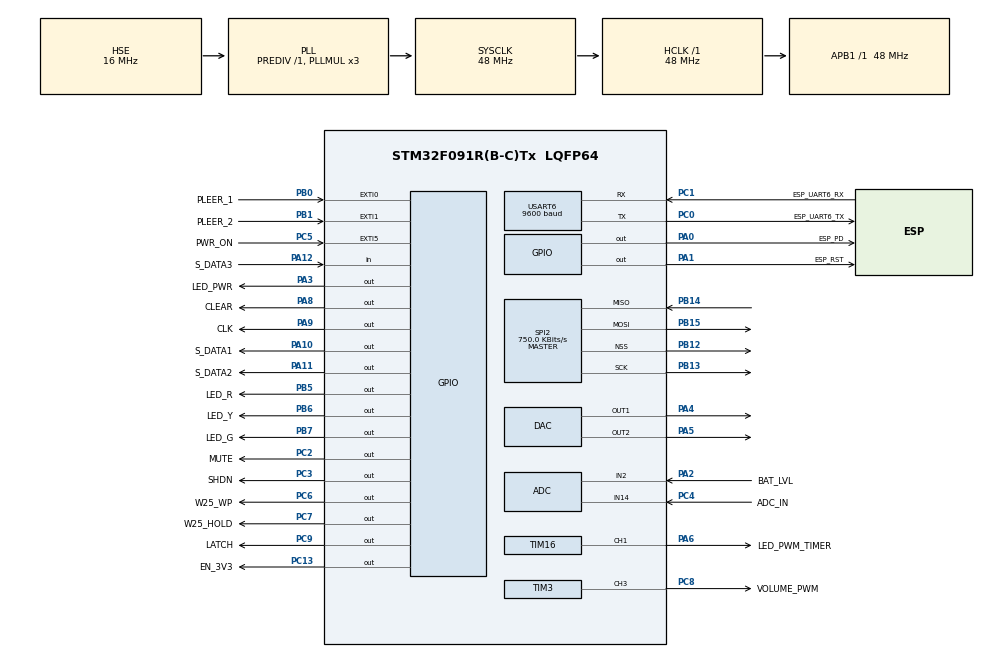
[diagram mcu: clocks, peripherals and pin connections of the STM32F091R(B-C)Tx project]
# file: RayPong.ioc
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Dma.Request0=TIM16_CH1/UP
Dma.TIM16_CH1/UP.0.Direction=DMA_MEMORY_TO_PERIPH
Dma.TIM16_CH1/UP.0.Instance=DMA1_Channel3
Dma.TIM16_CH1/UP.0.MemDataAlignment=DMA_MDATAALIGN_BYTE
Dma.TIM16_CH1/UP.0.MemInc=DMA_MINC_ENABLE
Dma.TIM16_CH1/UP.0.Mode=DMA_NORMAL
Dma.TIM16_CH1/UP.0.PeriphDataAlignment=DMA_PDATAALIGN_HALFWORD
Dma.TIM16_CH1/UP.0.PeriphInc=DMA_PINC_DISABLE
Dma.TIM16_CH1/UP.0.Priority=DMA_PRIORITY_VERY_HIGH
Mcu.Family=STM32F0
Mcu.Name=STM32F091R(B-C)Tx
Mcu.Package=LQFP64
NVIC.DMA1_Ch2_3_DMA2_Ch1_2_IRQn=true\:0\:0\:false\:false\:true\:false\:true
NVIC.EXTI0_1_IRQn=true\:0\:0\:false\:false\:true\:true\:true
NVIC.EXTI4_15_IRQn=true\:0\:0\:false\:false\:true\:true\:true
NVIC.TIM16_IRQn=true\:1\:0\:true\:false\:true\:true\:true
NVIC.TIM6_DAC_IRQn=true\:0\:0\:false\:false\:true\:true\:true
NVIC.USART3_8_IRQn=true\:0\:0\:false\:false\:true\:true\:true
PA0.GPIO_Label=ESP_PD
PA0.GPIO_ModeDefaultOutputPP=GPIO_MODE_OUTPUT_OD
PA0.Signal=GPIO_Output
PA1.GPIO_Label=ESP_RST
PA1.GPIO_ModeDefaultOutputPP=GPIO_MODE_OUTPUT_OD
PA1.Signal=GPIO_Output
PA10.GPIO_Label=S_DATA1
PA10.Signal=GPIO_Output
PA11.GPIO_Label=S_DATA2
PA11.Signal=GPIO_Output
PA12.GPIO_Label=S_DATA3
PA12.Signal=GPIO_Input
PA13.Mode=Serial_Wire
PA13.Signal=SYS_SWDIO
PA14.Mode=Serial_Wire
PA14.Signal=SYS_SWCLK
PA2.GPIO_Label=BAT_LVL
PA2.Mode=IN2
PA2.Signal=ADC_IN2
PA3.GPIO_Label=LED_PWR
PA3.Signal=GPIO_Output
PA4.Signal=COMP_DAC1_group
PA5.Signal=COMP_DAC2_group
PA6.GPIO_Label=LED_PWM_TIMER
PA6.Signal=S_TIM16_CH1
PA7.GPIO_Label=LED_PWM_SPI
PA7.Signal=SPI1_MOSI
PA8.GPIO_Label=CLEAR
PA8.Signal=GPIO_Output
PA9.GPIO_FMA9=SYSCFG_CFGR1_I2C_FMP_PA9
PA9.GPIO_Label=CLK
PA9.Signal=GPIO_Output
PB0.GPIO_Label=PLEER_1
PB0.GPIO_ModeDefaultEXTI=GPIO_MODE_IT_RISING_FALLING
PB0.Signal=GPXTI0
PB1.GPIO_Label=PLEER_2
PB1.GPIO_ModeDefaultEXTI=GPIO_MODE_IT_RISING_FALLING
PB1.Signal=GPXTI1
PB12.Mode=NSS_Signal_Hard_Output
PB12.Signal=SPI2_NSS
PB13.Mode=Full_Duplex_Master
PB13.Signal=SPI2_SCK
PB14.Mode=Full_Duplex_Master
PB14.Signal=SPI2_MISO
PB15.Mode=Full_Duplex_Master
PB15.Signal=SPI2_MOSI
PB5.GPIO_Label=LED_R
PB5.PinState=GPIO_PIN_SET
PB5.Signal=GPIO_Output
PB6.GPIO_Label=LED_Y
PB6.PinState=GPIO_PIN_SET
PB6.Signal=GPIO_Output
PB7.GPIO_Label=LED_G
PB7.PinState=GPIO_PIN_SET
PB7.Signal=GPIO_Output
PC0.GPIO_Label=ESP_UART6_TX
PC0.Mode=Asynchronous
PC0.Signal=USART6_TX
PC1.GPIO_Label=ESP_UART6_RX
PC1.Mode=Asynchronous
PC1.Signal=USART6_RX
PC13.GPIO_Label=EN_3V3
PC13.PinState=GPIO_PIN_SET
PC13.Signal=GPIO_Output
PC14OSC32_IN.GPIO_Label=EN_5V0
PC14OSC32_IN.Signal=GPIO_Output
PC2.GPIO_Label=MUTE
PC2.Signal=GPIO_Output
PC3.GPIO_Label=SHDN
PC3.Signal=GPIO_Output
PC4.GPIO_Label=ADC_IN
PC4.Mode=IN14
PC4.Signal=ADC_IN14
PC5.GPIO_Label=PWR_ON
PC5.GPIO_ModeDefaultEXTI=GPIO_MODE_IT_RISING_FALLING
PC5.GPIO_PuPd=GPIO_PULLDOWN
PC5.Signal=GPXTI5
PC6.GPIO_Label=W25_WP
PC6.Signal=GPIO_Output
PC7.GPIO_Label=W25_HOLD
PC7.Signal=GPIO_Output
PC8.GPIO_Label=VOLUME_PWM
PC8.Signal=S_TIM3_CH3
PC9.GPIO_Label=LATCH
PC9.Signal=GPIO_Output
PF0-OSC_IN.Mode=HSE-External-Oscillator
PF0-OSC_IN.Signal=RCC_OSC_IN
PF1-OSC_OUT.Mode=HSE-External-Oscillator
PF1-OSC_OUT.Signal=RCC_OSC_OUT
ProjectManager.HeapSize=0x400
ProjectManager.StackSize=0x1000
ProjectManager.TargetToolchain=EWARM V8.32
RCC.AHBFreq_Value=48000000
RCC.APB1Freq_Value=48000000
RCC.APB1TimFreq_Value=48000000
RCC.HCLKFreq_Value=48000000
RCC.HSE_VALUE=16000000
RCC.PLLMUL=RCC_PLL_MUL3
RCC.PLLSourceVirtual=RCC_PLLSOURCE_HSE
RCC.SYSCLKFreq_VALUE=48000000
RCC.SYSCLKSource=RCC_SYSCLKSOURCE_PLLCLK
SH.COMP_DAC1_group.0=DAC_OUT1,DAC_OUT1
SH.COMP_DAC2_group.0=DAC_OUT2,DAC_OUT2
SH.S_TIM16_CH1.0=TIM16_CH1,PWM Generation1 CH1
SH.S_TIM3_CH3.0=TIM3_CH3,PWM Generation3 CH3
SPI2.BaudRatePrescaler=SPI_BAUDRATEPRESCALER_64
SPI2.CalculateBaudRate=750.0 KBits/s
SPI2.DataSize=SPI_DATASIZE_6BIT
SPI2.Direction=SPI_DIRECTION_2LINES
SPI2.Mode=SPI_MODE_MASTER
SPI2.VirtualNSS=VM_NSSHARD
SPI2.VirtualType=VM_MASTER
TIM16.Channel=TIM_CHANNEL_1
TIM16.Period=59
TIM16.Prescaler=0
TIM16.Pulse=23
TIM3.Channel-PWM\ Generation3\ CH3=TIM_CHANNEL_3
TIM3.Period=59
TIM6.Period=100
TIM6.Prescaler=4999
USART6.BaudRate=9600
USART6.DMADisableonRxErrorParam=ADVFEATURE_DMA_DISABLEONRXERROR
USART6.OverSampling=UART_OVERSAMPLING_8
USART6.OverrunDisableParam=ADVFEATURE_OVERRUN_DISABLE
USART6.VirtualMode=VM_ASYNC
VP_FATFS_VS_Generic.Mode=User_defined
VP_TIM16_VS_ClockSourceINT.Mode=Enable_Timer
VP_TIM3_VS_ClockSourceINT.Mode=Internal
VP_TIM6_VS_ClockSourceINT.Mode=Enable_Timer
board=custom

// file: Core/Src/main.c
/* USER CODE BEGIN Header */
/**
  ******************************************************************************
  * @file           : main.c
  * @brief          : Main program body
  ******************************************************************************
  * @attention
  *
  * <h2><center>&copy; Copyright (c) 2020 STMicroelectronics.
  * All rights reserved.</center></h2>
  *
  * This software component is licensed by ST under BSD 3-Clause license,
  * the "License"; You may not use this file except in compliance with the
  * License. You may obtain a copy of the License at:
  *                        opensource.org/licenses/BSD-3-Clause
  *
  ******************************************************************************
  */
/* USER CODE END Header */
#include "main.h"
#include "adc.h"
#include "dac.h"
#include "dma.h"
#include "fatfs.h"
#include "spi.h"
#include "tim.h"
#include "usart.h"
#include "gpio.h"

/* USER CODE BEGIN Includes */

#include "bsp.h"

#include "control_task.h"
#include "ws2812_task.h"
#include "wifi_task.h"
#include "draw.h"

/* USER CODE END Includes */

void SystemClock_Config(void);

int main(void)
{

  /* MCU Configuration--------------------------------------------------------*/

  /* Reset of all peripherals, Initializes the Flash interface and the Systick. */
  HAL_Init();

  /* Configure the system clock */
  SystemClock_Config();

  /* Initialize all configured peripherals */
  MX_GPIO_Init();
  MX_DMA_Init();
  MX_TIM3_Init();
  MX_ADC_Init();
  MX_DAC_Init();
  MX_SPI2_Init();
  MX_TIM16_Init();
  MX_USART6_UART_Init();
  MX_FATFS_Init();
  MX_TIM6_Init();
  /* USER CODE BEGIN 2 */

  init_control_task();
  init_ws2812_task();
  init_wifi_task();
  init_draw_task();

//  __DBGMCU_CLK_ENABLE();
  RCC->APB2ENR |= RCC_APB2ENR_DBGMCUEN;
  DBGMCU->APB2FZ |= DBGMCU_APB2_FZ_DBG_TIM1_STOP | DBGMCU_APB2_FZ_DBG_TIM16_STOP;
  DBGMCU->APB1FZ |= DBGMCU_APB1_FZ_DBG_TIM6_STOP;

  V33_ENABLE();
  HAL_Delay( 100 );
//  V50_ENABLE();
//  HAL_Delay( 100 );
//  LED_POWER_ON();
//  HAL_Delay( 100 );

  /* USER CODE END 2 */

  /* Infinite loop */
  /* USER CODE BEGIN WHILE */
  while (1) {
    control_task();
    ws2812_task();
    wifi_task();
    draw_task();

    /* USER CODE END WHILE */

  }
}

void SystemClock_Config(void)
{
  RCC_OscInitTypeDef RCC_OscInitStruct = {0};
  RCC_ClkInitTypeDef RCC_ClkInitStruct = {0};

  /** Initializes the RCC Oscillators according to the specified parameters
  * in the RCC_OscInitTypeDef structure.
  */
  RCC_OscInitStruct.OscillatorType = RCC_OSCILLATORTYPE_HSI14|RCC_OSCILLATORTYPE_HSE;
  RCC_OscInitStruct.HSEState = RCC_HSE_ON;
  RCC_OscInitStruct.HSI14State = RCC_HSI14_ON;
  RCC_OscInitStruct.HSI14CalibrationValue = 16;
  RCC_OscInitStruct.PLL.PLLState = RCC_PLL_ON;
  RCC_OscInitStruct.PLL.PLLSource = RCC_PLLSOURCE_HSE;
  RCC_OscInitStruct.PLL.PLLMUL = RCC_PLL_MUL3;
  RCC_OscInitStruct.PLL.PREDIV = RCC_PREDIV_DIV1;
  if (HAL_RCC_OscConfig(&RCC_OscInitStruct) != HAL_OK)
  {
    Error_Handler();
  }
  /** Initializes the CPU, AHB and APB buses clocks
  */
  RCC_ClkInitStruct.ClockType = RCC_CLOCKTYPE_HCLK|RCC_CLOCKTYPE_SYSCLK
                              |RCC_CLOCKTYPE_PCLK1;
  RCC_ClkInitStruct.SYSCLKSource = RCC_SYSCLKSOURCE_PLLCLK;
  RCC_ClkInitStruct.AHBCLKDivider = RCC_SYSCLK_DIV1;
  RCC_ClkInitStruct.APB1CLKDivider = RCC_HCLK_DIV1;

  if (HAL_RCC_ClockConfig(&RCC_ClkInitStruct, FLASH_LATENCY_1) != HAL_OK)
  {
    Error_Handler();
  }
}

/* USER CODE BEGIN 4 */
void HAL_TIM_PeriodElapsedCallback( TIM_HandleTypeDef *htim ) {
  if( htim == &timUpdate ) {
    ws_start_update();
  }
}

void HAL_TIM_PWM_PulseFinishedCallback( TIM_HandleTypeDef *htim ) {
  if( htim == &timWsPwm ) {
    ws_stop_update();
  }
}

/* USER CODE END 4 */

void Error_Handler(void)
{
}

/************************ (C) COPYRIGHT STMicroelectronics *****END OF FILE****/
